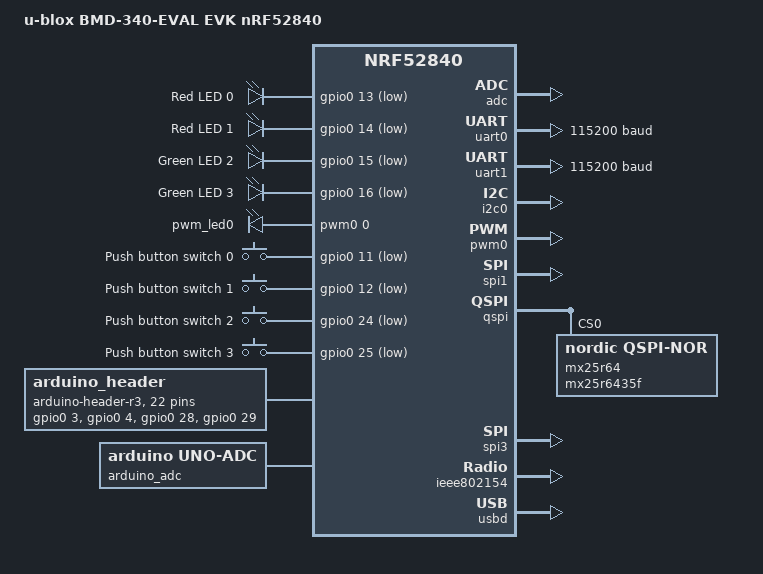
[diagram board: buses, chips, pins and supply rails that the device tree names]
/*
 * BMD-340-EVAL board configuration
 * Copyright (c) 2020 u-blox AG
 *
 * SPDX-License-Identifier: Apache-2.0
 */

/dts-v1/;
#include <nordic/nrf52840_qiaa.dtsi>
#include <nordic/nrf52840_partition.dtsi>
#include "ubx_bmd340eval_nrf52840-pinctrl.dtsi"
#include <zephyr/dt-bindings/gpio/arduino-header-r3.h>
#include <zephyr/dt-bindings/input/input-event-codes.h>

/ {
	model = "u-blox BMD-340-EVAL EVK nRF52840";
	compatible = "u-blox,ubx-bmd340eval-nrf52840";

	chosen {
		zephyr,console = &uart0;
		zephyr,shell-uart = &uart0;
		zephyr,uart-mcumgr = &uart0;
		zephyr,bt-mon-uart = &uart0;
		zephyr,bt-c2h-uart = &uart0;
		zephyr,ieee802154 = &ieee802154;
	};

	leds {
		compatible = "gpio-leds";

		led0: led_0 {
			gpios = <&gpio0 13 GPIO_ACTIVE_LOW>;
			label = "Red LED 0";
		};

		led1: led_1 {
			gpios = <&gpio0 14 GPIO_ACTIVE_LOW>;
			label = "Red LED 1";
		};

		led2: led_2 {
			gpios = <&gpio0 15 GPIO_ACTIVE_LOW>;
			label = "Green LED 2";
		};

		led3: led_3 {
			gpios = <&gpio0 16 GPIO_ACTIVE_LOW>;
			label = "Green LED 3";
		};
	};

	pwmleds {
		compatible = "pwm-leds";

		pwm_led0: pwm_led_0 {
			pwms = <&pwm0 0 PWM_MSEC(20) PWM_POLARITY_INVERTED>;
		};
	};

	buttons {
		compatible = "gpio-keys";

		button0: button_0 {
			gpios = <&gpio0 11 (GPIO_PULL_UP | GPIO_ACTIVE_LOW)>;
			label = "Push button switch 0";
			zephyr,code = <INPUT_KEY_0>;
		};

		button1: button_1 {
			gpios = <&gpio0 12 (GPIO_PULL_UP | GPIO_ACTIVE_LOW)>;
			label = "Push button switch 1";
			zephyr,code = <INPUT_KEY_1>;
		};

		button2: button_2 {
			gpios = <&gpio0 24 (GPIO_PULL_UP | GPIO_ACTIVE_LOW)>;
			label = "Push button switch 2";
			zephyr,code = <INPUT_KEY_2>;
		};

		button3: button_3 {
			gpios = <&gpio0 25 (GPIO_PULL_UP | GPIO_ACTIVE_LOW)>;
			label = "Push button switch 3";
			zephyr,code = <INPUT_KEY_3>;
		};
	};

	arduino_header: connector {
		compatible = "arduino-header-r3";
		#gpio-cells = <2>;
		gpio-map-mask = <0xffffffff 0xffffffc0>;
		gpio-map-pass-thru = <0 0x3f>;
		gpio-map = <ARDUINO_HEADER_R3_A0 0 &gpio0 3 0>,
			   <ARDUINO_HEADER_R3_A1 0 &gpio0 4 0>,
			   <ARDUINO_HEADER_R3_A2 0 &gpio0 28 0>,
			   <ARDUINO_HEADER_R3_A3 0 &gpio0 29 0>,
			   <ARDUINO_HEADER_R3_A4 0 &gpio0 30 0>,
			   <ARDUINO_HEADER_R3_A5 0 &gpio0 31 0>,
			   <ARDUINO_HEADER_R3_D0 0 &gpio1 1 0>,
			   <ARDUINO_HEADER_R3_D1 0 &gpio1 2 0>,
			   <ARDUINO_HEADER_R3_D2 0 &gpio1 3 0>,
			   <ARDUINO_HEADER_R3_D3 0 &gpio1 4 0>,
			   <ARDUINO_HEADER_R3_D4 0 &gpio1 5 0>,
			   <ARDUINO_HEADER_R3_D5 0 &gpio1 6 0>,
			   <ARDUINO_HEADER_R3_D6 0 &gpio1 7 0>,
			   <ARDUINO_HEADER_R3_D7 0 &gpio1 8 0>,
			   <ARDUINO_HEADER_R3_D8 0 &gpio1 10 0>,
			   <ARDUINO_HEADER_R3_D9 0 &gpio1 11 0>,
			   <ARDUINO_HEADER_R3_D10 0 &gpio1 12 0>,
			   <ARDUINO_HEADER_R3_D11 0 &gpio1 13 0>,
			   <ARDUINO_HEADER_R3_D12 0 &gpio1 14 0>,
			   <ARDUINO_HEADER_R3_D13 0 &gpio1 15 0>,
			   <ARDUINO_HEADER_R3_D14 0 &gpio0 26 0>,
			   <ARDUINO_HEADER_R3_D15 0 &gpio0 27 0>;
	};

	arduino_adc: analog-connector {
		compatible = "arduino,uno-adc";
		#io-channel-cells = <1>;
		io-channel-map = <0 &adc 1>,	/* A0 = P0.3 = AIN1 */
				 <1 &adc 2>,	/* A1 = P0.4 = AIN2 */
				 <2 &adc 4>,	/* A2 = P0.28 = AIN4 */
				 <3 &adc 5>,	/* A3 = P0.29 = AIN5 */
				 <4 &adc 6>,	/* A4 = P0.30 = AIN6 */
				 <5 &adc 7>;	/* A5 = P0.31 = AIN7 */
	};

	/* These aliases are provided for compatibility with samples */
	aliases {
		led0 = &led0;
		led1 = &led1;
		led2 = &led2;
		led3 = &led3;
		pwm-led0 = &pwm_led0;
		sw0 = &button0;
		sw1 = &button1;
		sw2 = &button2;
		sw3 = &button3;
		watchdog0 = &wdt0;
	};
};

&reg1 {
	regulator-initial-mode = <NRF5X_REG_MODE_DCDC>;
};

&adc {
	status = "okay";
};

&uicr {
	gpio-as-nreset;
};

&gpiote {
	status = "okay";
};

&gpio0 {
	status = "okay";
};

&gpio1 {
	status = "okay";
};

&uart0 {
	compatible = "nordic,nrf-uarte";
	status = "okay";
	current-speed = <115200>;
	pinctrl-0 = <&uart0_default>;
	pinctrl-1 = <&uart0_sleep>;
	pinctrl-names = "default", "sleep";
};

arduino_serial: &uart1 {
	status = "okay";
	current-speed = <115200>;
	pinctrl-0 = <&uart1_default>;
	pinctrl-1 = <&uart1_sleep>;
	pinctrl-names = "default", "sleep";
};

arduino_i2c: &i2c0 {
	compatible = "nordic,nrf-twi";
	status = "okay";
	pinctrl-0 = <&i2c0_default>;
	pinctrl-1 = <&i2c0_sleep>;
	pinctrl-names = "default", "sleep";
};

&i2c1 {
	compatible = "nordic,nrf-twi";
	/* Cannot be used together with spi1. */
	/* status = "okay"; */
	pinctrl-0 = <&i2c1_default>;
	pinctrl-1 = <&i2c1_sleep>;
	pinctrl-names = "default", "sleep";
};

&pwm0 {
	status = "okay";
	pinctrl-0 = <&pwm0_default>;
	pinctrl-1 = <&pwm0_sleep>;
	pinctrl-names = "default", "sleep";
};

&spi0 {
	compatible = "nordic,nrf-spi";
	/* Cannot be used together with i2c0. */
	/* status = "okay"; */
	pinctrl-0 = <&spi0_default>;
	pinctrl-1 = <&spi0_sleep>;
	pinctrl-names = "default", "sleep";
};

&spi1 {
	compatible = "nordic,nrf-spi";
	status = "okay";
	pinctrl-0 = <&spi1_default>;
	pinctrl-1 = <&spi1_sleep>;
	pinctrl-names = "default", "sleep";
};

&spi2 {
	compatible = "nordic,nrf-spi";
	status = "disabled";
	pinctrl-0 = <&spi2_default>;
	pinctrl-1 = <&spi2_sleep>;
	pinctrl-names = "default", "sleep";
};

&qspi {
	status = "okay";
	pinctrl-0 = <&qspi_default>;
	pinctrl-1 = <&qspi_sleep>;
	pinctrl-names = "default", "sleep";

	mx25r64: mx25r6435f@0 {
		compatible = "nordic,qspi-nor";
		reg = <0>;
		/* MX25R64 supports only pp and pp4io */
		writeoc = "pp4io";
		/* MX25R64 supports all readoc options */
		readoc = "read4io";
		sck-frequency = <8000000>;
		jedec-id = [c2 28 17];
		sfdp-bfp = [e5 20 f1 ff ff ff ff 03
			    44 eb 08 6b 08 3b 04 bb
			    ee ff ff ff ff ff 00 ff
			    ff ff 00 ff 0c 20 0f 52
			    10 d8 00 ff 23 72 f5 00
			    82 ed 04 cc 44 83 68 44
			    30 b0 30 b0 f7 c4 d5 5c
			    00 be 29 ff f0 d0 ff ff];
		size = <67108864>;
		has-dpd;
		t-enter-dpd = <10000>;
		t-exit-dpd = <35000>;
	};
};

arduino_spi: &spi3 {
	status = "okay";
	cs-gpios = <&arduino_header 16 GPIO_ACTIVE_LOW>; /* D10 */
	pinctrl-0 = <&spi3_default>;
	pinctrl-1 = <&spi3_sleep>;
	pinctrl-names = "default", "sleep";
};

&ieee802154 {
	status = "okay";
};

zephyr_udc0: &usbd {
	compatible = "nordic,nrf-usbd";
	status = "okay";
};
